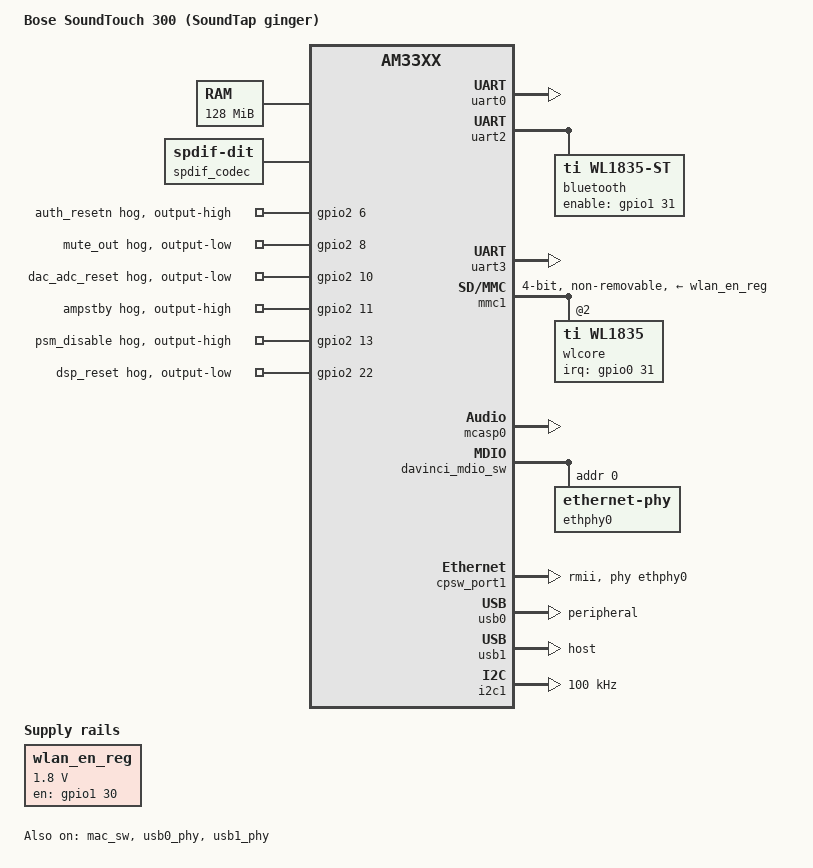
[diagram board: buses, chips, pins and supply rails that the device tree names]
// SPDX-License-Identifier: GPL-2.0-only
// SPDX-FileCopyrightText: 2026 SoundTap contributors
/dts-v1/;

/*
 * SoundTouch 300, variant "ginger": the same SM2 module as the Wireless Link and the
 * ST10, inside a soundbar. SoundTap runs on it (first install 2026-11-15,
 * docs/hardware/install-records.md#soundtouch-300). The hardware facts below were read from a running
 * stock ST300 (27.0.6) without writing to it.
 *
 * What the module does not have here: a codec, LEDs, buttons or a display. Stock
 * disables all four nodes. The soundbar's own processor owns those, plus the DSP,
 * ADAPTiQ and the bass module, and A4VServer talks to it over UART0 at 921600 baud.
 */
#include "am33xx.dtsi"
#include <dt-bindings/gpio/gpio.h>
#include <dt-bindings/interrupt-controller/irq.h>
#include <dt-bindings/pinctrl/am33xx.h>
#include "am335x-soundtap-ramoops.dtsi"
#define SOUNDTAP_NAND_SLOT_RW soundtap,writable
#define SOUNDTAP_NAND_ENV_RW soundtap,writable
#define SOUNDTAP_NAND_PERSISTENT_RW soundtap,writable
#define SOUNDTAP_NAND_BOOT_RW soundtap,writable
#include "am335x-soundtap-nand.dtsi"

/ {
	model = "Bose SoundTouch 300 (SoundTap ginger)";
	compatible = "bose,ginger-sm2", "ti,am33xx";

	aliases {
		serial0 = &uart0;
		serial3 = &uart3;
	};

	chosen {
		stdout-path = "serial3:115200n8";
		bootargs = "console=ttyS3,115200n8 root=ubi0:rootfs ro rootfstype=ubifs ubi.mtd=9,2048 rootwait init=/init mem=128M cma=8M panic=10 omap_wdt.early_enable=1 variant=ginger module_type=sm2 country=GB region=GB soundtap.nandroot=1 soundtap.watchdog=90";
	};

	/* Stock reports 122488 kB of 128 MiB, the same part as the Wireless Link. */
	memory@80000000 {
		device_type = "memory";
		reg = <0x80000000 0x08000000>;
	};

	spdif_codec: audio-codec {
		compatible = "linux,spdif-dit";
		#sound-dai-cells = <0>;
	};

	/*
	 * The one audio output: S/PDIF into the soundbar's DSP, on McASP0 serializer 2.
	 * snd-bardeen.ko's start_tx, read 2026-10-01: AFSXCTL 0xc002 (384-slot DIT),
	 * DITCTL 1, SRCTL2 1 (transmit), AHCLKXCTL 0x8001 and ACLKXCTL 0xe1, so AUXCLK
	 * 24 MHz / 2 / 2 = a 6 MHz biphase clock, which is 128 x 46875 Hz. Unlike the
	 * Wireless Link's S/PDIF jack there is no oscillator on this link; the DSP takes
	 * whatever rate the module sends.
	 *
	 * Serializer 0 receives a two-slot stream from the DSP on stock (SRCTL0 2,
	 * external ACLKR/AFSR). It carries the processor's input, the TV: measured
	 * 2026-11-08 with a register probe, full-scale audio while the TV played and
	 * zeros while it was silent, clocked only while the bar is awake. It is the
	 * card's capture stream (ti,dit-rx-i2s, kernel patch 0011), for sharing the TV
	 * with a multiroom group.
	 */
	sound {
		compatible = "bose,soundtap-mcasp-spdif-auxclk";
		model = "SoundTap";
		audio-cpu = <&mcasp0>;
		audio-codec = <&spdif_codec>;
	};

	wlan_en_reg: regulator-wlan {
		compatible = "regulator-fixed";
		regulator-name = "wlan-en-regulator";
		regulator-min-microvolt = <1800000>;
		regulator-max-microvolt = <1800000>;
		gpio = <&gpio1 30 GPIO_ACTIVE_HIGH>;
		startup-delay-us = <70000>;
		enable-active-high;
	};
};

&am33xx_pinmux {
	uart3_pins: pinmux-uart3-pins {
		pinctrl-single,pins = <
			AM33XX_PADCONF(AM335X_PIN_MII1_RXD2, PIN_OUTPUT_PULLDOWN, MUX_MODE1)
			AM33XX_PADCONF(AM335X_PIN_SPI0_CS1, PIN_INPUT_PULLUP, MUX_MODE1)
		>;
	};

	/* The link to the soundbar processor. Stock uart0_pins_default, <0x170 0x30 0x174 0x00>. */
	uart0_pins: pinmux-uart0-pins {
		pinctrl-single,pins = <
			AM33XX_PADCONF(AM335X_PIN_UART0_RXD, PIN_INPUT_PULLUP, MUX_MODE0)
			AM33XX_PADCONF(AM335X_PIN_UART0_TXD, PIN_OUTPUT, MUX_MODE0)
		>;
	};

	mmc1_pins: pinmux-mmc1-pins {
		pinctrl-single,pins = <
			AM33XX_PADCONF(AM335X_PIN_MMC0_DAT3, PIN_INPUT_PULLUP, MUX_MODE0)
			AM33XX_PADCONF(AM335X_PIN_MMC0_DAT2, PIN_INPUT_PULLUP, MUX_MODE0)
			AM33XX_PADCONF(AM335X_PIN_MMC0_DAT1, PIN_INPUT_PULLUP, MUX_MODE0)
			AM33XX_PADCONF(AM335X_PIN_MMC0_DAT0, PIN_INPUT_PULLUP, MUX_MODE0)
			AM33XX_PADCONF(AM335X_PIN_MMC0_CLK, PIN_INPUT_PULLUP, MUX_MODE0)
			AM33XX_PADCONF(AM335X_PIN_MMC0_CMD, PIN_INPUT_PULLUP, MUX_MODE0)
		>;
	};

	wlan_pins: pinmux-wlan-pins {
		pinctrl-single,pins = <
			AM33XX_PADCONF(AM335X_PIN_GPMC_CSN1, PIN_OUTPUT_PULLDOWN, MUX_MODE7)
			AM33XX_PADCONF(AM335X_PIN_GPMC_WPN, PIN_INPUT, MUX_MODE7)
		>;
	};

	uart2_pins: pinmux-uart2-pins {
		pinctrl-single,pins = <
			AM33XX_PADCONF(AM335X_PIN_SPI0_SCLK, PIN_INPUT_PULLUP, MUX_MODE1) /* uart2_rxd */
			AM33XX_PADCONF(AM335X_PIN_SPI0_D0, PIN_OUTPUT_PULLDOWN, MUX_MODE1) /* uart2_txd */
			AM33XX_PADCONF(AM335X_PIN_I2C0_SDA, PIN_INPUT_PULLUP, MUX_MODE2) /* uart2_ctsn */
			AM33XX_PADCONF(AM335X_PIN_I2C0_SCL, PIN_OUTPUT_PULLDOWN, MUX_MODE2) /* uart2_rtsn */
		>;
	};

	bt_pins: pinmux-bt-pins {
		pinctrl-single,pins = <
			AM33XX_PADCONF(AM335X_PIN_GPMC_CSN2, PIN_OUTPUT_PULLDOWN, MUX_MODE7)
		>;
	};

	/*
	 * Stock i2c1_pins_default, <0x180 0x6b 0x184 0x6b>: uart1_rxd/uart1_txd in mode 3.
	 * scmmond keeps /dev/i2c-1 open on stock; nothing here talks to it yet.
	 */
	i2c1_pins: pinmux-i2c1-pins {
		pinctrl-single,pins = <
			AM33XX_PADCONF(AM335X_PIN_UART1_RXD, PIN_INPUT | SLEWCTRL_SLOW, MUX_MODE3) /* i2c1_sda */
			AM33XX_PADCONF(AM335X_PIN_UART1_TXD, PIN_INPUT | SLEWCTRL_SLOW, MUX_MODE3) /* i2c1_scl */
		>;
	};

	/*
	 * Stock mcaspo0_pins_default (sic), all eight pads. Same as the Wireless Link except
	 * mii1_col, which is mcasp0_axr2 here -- the S/PDIF output -- where the Wireless
	 * Link hands it to McASP1.
	 */
	mcasp0_pins: pinmux-mcasp0-pins {
		pinctrl-single,pins = <
			AM33XX_PADCONF(AM335X_PIN_LCD_DATA12, PIN_INPUT_PULLDOWN, MUX_MODE3) /* mcasp0_aclkr */
			AM33XX_PADCONF(AM335X_PIN_LCD_DATA13, PIN_INPUT_PULLDOWN, MUX_MODE3) /* mcasp0_fsr */
			AM33XX_PADCONF(AM335X_PIN_LCD_DATA14, PIN_INPUT_PULLDOWN, MUX_MODE3) /* mcasp0_axr1 */
			AM33XX_PADCONF(AM335X_PIN_LCD_DATA15, PIN_OUTPUT, MUX_MODE3) /* mcasp0_ahclkx */
			AM33XX_PADCONF(AM335X_PIN_MII1_COL, PIN_INPUT_PULLDOWN, MUX_MODE6) /* mcasp0_axr2 */
			AM33XX_PADCONF(AM335X_PIN_MII1_TX_CLK, PIN_OUTPUT, MUX_MODE6) /* mcasp0_aclkx */
			AM33XX_PADCONF(AM335X_PIN_MII1_RX_CLK, PIN_OUTPUT, MUX_MODE6) /* mcasp0_fsx */
			AM33XX_PADCONF(AM335X_PIN_MII1_RXD3, PIN_INPUT_PULLDOWN, MUX_MODE6) /* mcasp0_axr0 */
		>;
	};

	/* Stock rmii1_pins_default and davinci_mdio_default. */
	rmii1_pins: pinmux-rmii1-pins {
		pinctrl-single,pins = <
			AM33XX_PADCONF(AM335X_PIN_MII1_CRS, PIN_INPUT_PULLDOWN, MUX_MODE1) /* rmii1_crs_dv */
			AM33XX_PADCONF(AM335X_PIN_MII1_RX_ER, PIN_INPUT_PULLDOWN, MUX_MODE1) /* rmii1_rx_er */
			AM33XX_PADCONF(AM335X_PIN_MII1_TX_EN, PIN_OUTPUT_PULLDOWN, MUX_MODE1) /* rmii1_tx_en */
			AM33XX_PADCONF(AM335X_PIN_MII1_TXD1, PIN_OUTPUT_PULLDOWN, MUX_MODE1) /* rmii1_txd1 */
			AM33XX_PADCONF(AM335X_PIN_MII1_TXD0, PIN_OUTPUT_PULLDOWN, MUX_MODE1) /* rmii1_txd0 */
			AM33XX_PADCONF(AM335X_PIN_MII1_RXD1, PIN_INPUT_PULLDOWN, MUX_MODE1) /* rmii1_rxd1 */
			AM33XX_PADCONF(AM335X_PIN_MII1_RXD0, PIN_INPUT_PULLDOWN, MUX_MODE1) /* rmii1_rxd0 */
			AM33XX_PADCONF(AM335X_PIN_RMII1_REF_CLK, PIN_INPUT_PULLDOWN, MUX_MODE0) /* rmii1_refclk */
		>;
	};

	mdio_pins: pinmux-mdio-pins {
		pinctrl-single,pins = <
			AM33XX_PADCONF(AM335X_PIN_MDIO, PIN_INPUT_PULLUP, MUX_MODE0)
			AM33XX_PADCONF(AM335X_PIN_MDC, PIN_OUTPUT_PULLUP, MUX_MODE0)
		>;
	};

	/* Stock gpiodev_pins_default, the lines the hogs below hold. */
	control_pins: pinmux-control-pins {
		pinctrl-single,pins = <
			AM33XX_PADCONF(AM335X_PIN_LCD_DATA0, PIN_OUTPUT_PULLDOWN, MUX_MODE7) /* auth_resetn */
			AM33XX_PADCONF(AM335X_PIN_LCD_DATA2, PIN_OUTPUT_PULLDOWN, MUX_MODE7) /* mute_out */
			AM33XX_PADCONF(AM335X_PIN_LCD_DATA4, PIN_OUTPUT_PULLDOWN, MUX_MODE7) /* dac_adc_reset */
			AM33XX_PADCONF(AM335X_PIN_LCD_DATA5, PIN_OUTPUT_PULLDOWN, MUX_MODE7) /* ampstby */
			AM33XX_PADCONF(AM335X_PIN_LCD_DATA7, PIN_OUTPUT_PULLDOWN, MUX_MODE7) /* psm_disable */
			AM33XX_PADCONF(AM335X_PIN_LCD_VSYNC, PIN_OUTPUT_PULLDOWN, MUX_MODE7) /* dsp_reset */
			AM33XX_PADCONF(AM335X_PIN_LCD_PCLK, PIN_INPUT_PULLUP, MUX_MODE7) /* ampfault */
		>;
	};
};

&uart0 {
	pinctrl-names = "default";
	pinctrl-0 = <&uart0_pins>;
	status = "okay";
};

&uart2 {
	pinctrl-names = "default";
	pinctrl-0 = <&uart2_pins>;
	status = "okay";
	/* As on the Wireless Link: RX DMA delivers the radio's replies late. */
	/delete-property/ dmas;
	/delete-property/ dma-names;

	bluetooth {
		compatible = "ti,wl1835-st";
		enable-gpios = <&gpio1 31 GPIO_ACTIVE_HIGH>;
		pinctrl-names = "default";
		pinctrl-0 = <&bt_pins>;
		max-speed = <3000000>;
	};
};

&uart3 {
	pinctrl-names = "default";
	pinctrl-0 = <&uart3_pins>;
	status = "okay";
};

&mmc1 {
	/delete-property/ dmas;
	/delete-property/ dma-names;
	sdhci-caps-mask = <0 0x00580000>;
	pinctrl-names = "default";
	pinctrl-0 = <&mmc1_pins &wlan_pins>;
	vmmc-supply = <&wlan_en_reg>;
	bus-width = <4>;
	non-removable;
	cap-power-off-card;
	keep-power-in-suspend;
	ti,non-removable;
	ti,needs-special-hs-handling;
	status = "okay";
	#address-cells = <1>;
	#size-cells = <0>;

	wlcore: wifi@2 {
		compatible = "ti,wl1835";
		reg = <2>;
		interrupt-parent = <&gpio0>;
		interrupts = <31 IRQ_TYPE_EDGE_FALLING>;
	};
};

&mcasp0 {
	#sound-dai-cells = <0>;
	pinctrl-names = "default";
	pinctrl-0 = <&mcasp0_pins>;
	status = "okay";
	op-mode = <1>;
	tdm-slots = <2>;
	serial-dir = <2 0 1 0>;
	ti,tx-clock-only;
	ti,dit-rx-i2s;
	tx-num-evt = <1>;
};

/* Rear Ethernet: RMII, PHY at address 0, reference clock from the board (stock rmii-clock-ext). */
&mac_sw {
	pinctrl-names = "default";
	pinctrl-0 = <&rmii1_pins>;
	status = "okay";
};

&davinci_mdio_sw {
	pinctrl-names = "default";
	pinctrl-0 = <&mdio_pins>;

	ethphy0: ethernet-phy@0 {
		reg = <0>;
	};
};

&cpsw_port1 {
	phy-handle = <&ethphy0>;
	phy-mode = "rmii";
	ti,dual-emac-pvid = <1>;
};

&cpsw_port2 {
	status = "disabled";
};

&usb0 {
	dr_mode = "peripheral";
	status = "okay";
};

&usb0_phy {
	status = "okay";
};

&usb1 {
	dr_mode = "host";
	status = "okay";
};

&usb1_phy {
	status = "okay";
};

&i2c1 {
	pinctrl-names = "default";
	pinctrl-0 = <&i2c1_pins>;
	status = "okay";
	clock-frequency = <100000>;
};

/*
 * The SM2 control lines, held where stock holds them on a running ST300 (read from
 * /sys/class/gpio on 2026-10-01): auth_resetn 1, mute_out 0, dac_adc_reset 0,
 * ampstby 1, psm_disable 1, dsp_reset 0. ampfault is an input and reads 1.
 * Bose's flat numbers 70..86 are bank 2 here, matching the pads above.
 */
&gpio2 {
	pinctrl-names = "default";
	pinctrl-0 = <&control_pins>;

	auth-resetn-hog {
		gpio-hog;
		gpios = <6 GPIO_ACTIVE_HIGH>;
		output-high;
		line-name = "auth_resetn";
	};

	mute-out-hog {
		gpio-hog;
		gpios = <8 GPIO_ACTIVE_HIGH>;
		output-low;
		line-name = "mute_out";
	};

	dac-adc-reset-hog {
		gpio-hog;
		gpios = <10 GPIO_ACTIVE_HIGH>;
		output-low;
		line-name = "dac_adc_reset";
	};

	ampstby-hog {
		gpio-hog;
		gpios = <11 GPIO_ACTIVE_HIGH>;
		output-high;
		line-name = "ampstby";
	};

	psm-disable-hog {
		gpio-hog;
		gpios = <13 GPIO_ACTIVE_HIGH>;
		output-high;
		line-name = "psm_disable";
	};

	dsp-reset-hog {
		gpio-hog;
		gpios = <22 GPIO_ACTIVE_HIGH>;
		output-low;
		line-name = "dsp_reset";
	};
};
